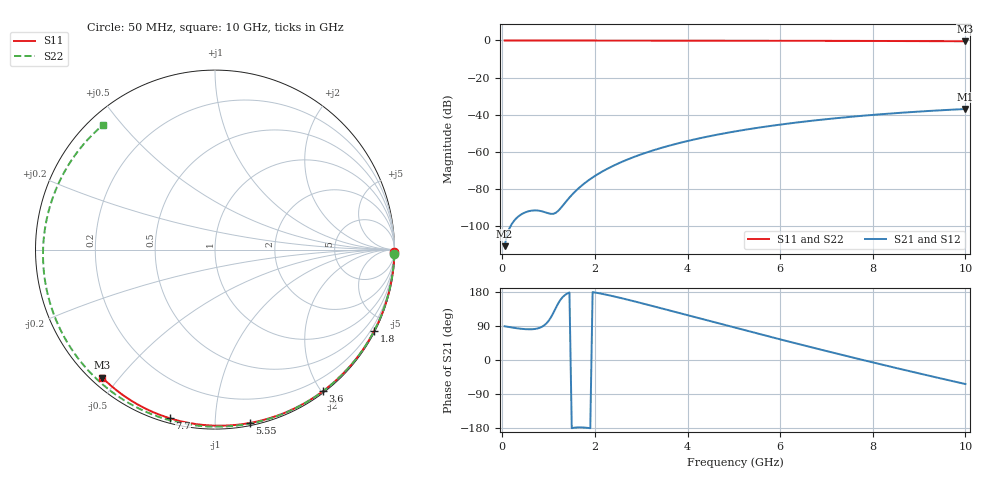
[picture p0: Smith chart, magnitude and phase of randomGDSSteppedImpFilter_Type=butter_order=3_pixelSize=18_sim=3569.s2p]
! freq	dB(S11)	phase(S11)	dB(S12)	phase(S12)
!  dB(S21)	phase(S21)	dB(S22)	phase(S22)
!S-par simulation data
#  GHz  S  DB  R 50
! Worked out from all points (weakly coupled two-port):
!   200 points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, 50 MHz to 10 GHz, reference 50 ohm
!   highest |S21| = -36.99 dB at 10 GHz (marker M1); lowest = -111.0 dB at 50 MHz (marker M2)
!   lowest |S11| = -0.4 dB at 10 GHz (marker M3), VSWR 39.15, Z = 1.54 - j22.6 ohm
!   |S11| at or under -10 dB: nowhere
!   |S22| runs from -0.6 to 0.0 dB; largest |S21 - S12| = 0
!   S11 on the Smith chart (normalised r, x): 50 MHz: open; 1.8 GHz: 0.04, -4.18; 3.6 GHz: 0.02, -2.02; 5.55 GHz: 0.02, -1.22; 7.7 GHz: 0.02, -0.77; 10 GHz: 0.03, -0.45
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0.05  -0.00 -0.8  -111.02 89.0  -111.02 89.0  -0.00 -1.4
0.4  -0.01 -6.1  -94.02 82.5  -94.02 82.5  -0.02 -11.1
0.8  -0.02 -12.1  -91.91 84.6  -91.91 84.6  -0.03 -22.1
1.6  -0.03 -24.0  -80.87 -178.0  -80.87 -178.0  -0.05 -43.6
1.65  -0.03 -24.7  -79.72 -177.8  -79.72 -177.8  -0.06 -44.9
1.75  -0.03 -26.2  -77.59 -178.1  -77.59 -178.1  -0.06 -47.5
1.8  -0.03 -26.9  -76.61 -178.5  -76.61 -178.5  -0.06 -48.8
2.1  -0.04 -31.3  -71.59 175.9  -71.59 175.9  -0.07 -56.6
2.5  -0.05 -37.1  -66.43 165.3  -66.43 165.3  -0.08 -66.6
2.9  -0.06 -42.8  -62.35 153.3  -62.35 153.3  -0.10 -76.4
3.4  -0.07 -49.9  -58.23 137.5  -58.23 137.5  -0.11 -88.2
3.6  -0.07 -52.6  -56.81 131.1  -56.81 131.1  -0.12 -92.9
4.3  -0.09 -62.2  -52.58 108.5  -52.58 108.5  -0.15 -108.5
5.05  -0.11 -72.2  -48.99 84.4  -48.99 84.4  -0.18 -124.6
5.55  -0.13 -78.6  -47.00 68.6  -47.00 68.6  -0.21 -134.9
6.15  -0.15 -86.2  -44.93 49.8  -44.93 49.8  -0.25 -147.2
6.7  -0.18 -93.0  -43.29 32.8  -43.29 32.8  -0.28 -158.2
7.2  -0.21 -99.1  -41.97 17.6  -41.97 17.6  -0.32 -168.3
7.7  -0.24 -105.0  -40.81 2.6  -40.81 2.6  -0.37 -178.4
8.35  -0.29 -112.6  -39.49 -16.6  -39.49 -16.6  -0.43 168.2
9.15  -0.36 -121.8  -38.14 -39.7  -38.14 -39.7  -0.51 151.1
10  -0.44 -131.3  -36.99 -63.4  -36.99 -63.4  -0.60 132.0
